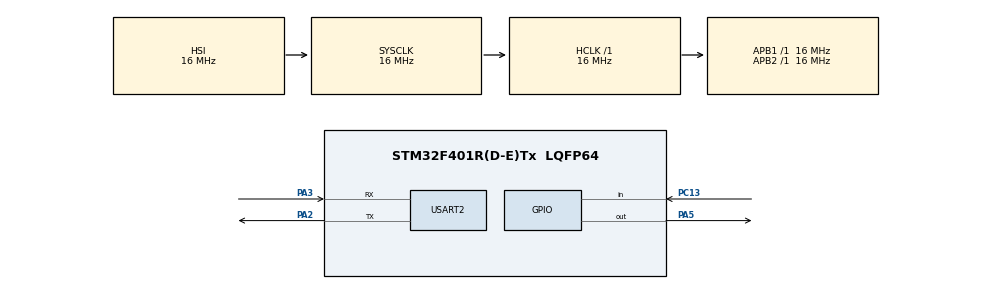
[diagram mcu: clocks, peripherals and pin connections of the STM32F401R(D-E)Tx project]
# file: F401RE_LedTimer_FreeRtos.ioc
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FREERTOS.Queues01=cmdQueue,20,uint8_t,0,Dynamic,NULL,NULL
FREERTOS.Tasks01=ledControlTask,0,128,ledControlStart,Default,&ledStatus,Dynamic,NULL,NULL
FREERTOS.configUSE_NEWLIB_REENTRANT=1
Mcu.Family=STM32F4
Mcu.Name=STM32F401R(D-E)Tx
Mcu.Package=LQFP64
NVIC.PriorityGroup=NVIC_PRIORITYGROUP_4
PA2.Mode=Asynchronous
PA2.Signal=USART2_TX
PA3.Mode=Asynchronous
PA3.Signal=USART2_RX
PA5.Signal=GPIO_Output
PC13-ANTI_TAMP.Signal=GPIO_Input
ProjectManager.HeapSize=0x200
ProjectManager.StackSize=0x400
ProjectManager.TargetToolchain=STM32CubeIDE
RCC.AHBFreq_Value=16000000
RCC.APB1Freq_Value=16000000
RCC.APB2Freq_Value=16000000
RCC.CortexFreq_Value=16000000
RCC.HSE_VALUE=25000000
RCC.HSI_VALUE=16000000
RCC.LSE_VALUE=32768
RCC.SYSCLKFreq_VALUE=16000000
RCC.VCOOutputFreq_Value=192000000
USART2.OverSampling=UART_OVERSAMPLING_16
USART2.VirtualMode=VM_ASYNC
VP_FREERTOS_VS_CMSIS_V1.Mode=CMSIS_V1
board=custom

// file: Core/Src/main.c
/* USER CODE BEGIN Header */
/**
  ******************************************************************************
  * @file           : main.c
  * @brief          : Main program body
  ******************************************************************************
  * @attention
  *
  * Copyright (c) 2025 STMicroelectronics.
  * All rights reserved.
  *
  * This software is licensed under terms that can be found in the LICENSE file
  * in the root directory of this software component.
  * If no LICENSE file comes with this software, it is provided AS-IS.
  *
  ******************************************************************************
  */
/* USER CODE END Header */
#include "main.h"

/* USER CODE BEGIN Includes */

#include "FreeRTOS.h"
#include "task.h"
#include "timers.h"
#include "queue.h"
#include "semphr.h"
#include "event_groups.h"

#include "string.h"
#include "stdlib.h"
#include "stdio.h"

/* USER CODE END Includes */

/* USER CODE BEGIN PTD */

typedef uint8_t		bool;
typedef uint32_t	blinkInterval;

typedef struct {
	uint8_t		str[25];
	uint8_t 	size;
}	queueItem_t;

typedef struct {
	bool			isOn;
	blinkInterval	blinkInt;

} ledStatus_t;
/* USER CODE END PTD */

/* USER CODE BEGIN PD */

#define QUEUE_SIZE 3

/* USER CODE END PD */

UART_HandleTypeDef huart2;

void SystemClock_Config(void);
static void MX_GPIO_Init(void);
static void MX_USART2_UART_Init(void);

/* USER CODE BEGIN 0 */

/**************** QUEUE HANDLER *****************/
xQueueHandle	rxQueueHandler;

/**************** QUEUE HANDLER *****************/
SemaphoreHandle_t	xMutex;

/**************** TASK HANDLER *****************/
xTaskHandle	 	rxUartData;
xTaskHandle		ledControl;
xTaskHandle		parseData;

/*************** TASK FUNCTIONS ****************/
void			rxUartDataTask(void* argument);
void			ledControlTask(void* argument);
void			parseDataTask(void* argument);

ledStatus_t	ledStatus;

/* USER CODE END 0 */

int main(void)
{
  /* USER CODE BEGIN 1 */
  ledStatus.isOn		= 0;
  ledStatus.blinkInt	= 250;
  /* USER CODE END 1 */

  /* MCU Configuration--------------------------------------------------------*/

  /* Reset of all peripherals, Initializes the Flash interface and the Systick. */
  HAL_Init();

  /* Configure the system clock */
  SystemClock_Config();

  /* Initialize all configured peripherals */
  MX_GPIO_Init();
  MX_USART2_UART_Init();
  /* USER CODE BEGIN 2 */
  /*		Queue create 		*/
  rxQueueHandler = xQueueCreate(QUEUE_SIZE, sizeof(queueItem_t));

  /*		Task create 		*/
  xTaskCreate(rxUartDataTask, "rxUart", 128, NULL, 2, &rxUartData);
  xTaskCreate(ledControlTask, "ledCtr", 128, NULL, 1, &ledControl);
  xTaskCreate(parseDataTask, "parseData", 128, NULL, 1, &parseData);

  /*		Mutex create		*/
  xMutex = xSemaphoreCreateMutex();

//  HAL_UART_Receive_IT(&huart2, &rxData, 1);
  /*		Task scheduler start 		*/
  vTaskStartScheduler();
  /* USER CODE END 2 */

  /* We should never get here as control is now taken by the scheduler */
  /* Infinite loop */
  while (1)
  {
  }
}

void SystemClock_Config(void)
{
  RCC_OscInitTypeDef RCC_OscInitStruct = {0};
  RCC_ClkInitTypeDef RCC_ClkInitStruct = {0};

  /** Configure the main internal regulator output voltage
  */
  __HAL_RCC_PWR_CLK_ENABLE();
  __HAL_PWR_VOLTAGESCALING_CONFIG(PWR_REGULATOR_VOLTAGE_SCALE2);

  /** Initializes the RCC Oscillators according to the specified parameters
  * in the RCC_OscInitTypeDef structure.
  */
  RCC_OscInitStruct.OscillatorType = RCC_OSCILLATORTYPE_HSI;
  RCC_OscInitStruct.HSIState = RCC_HSI_ON;
  RCC_OscInitStruct.HSICalibrationValue = RCC_HSICALIBRATION_DEFAULT;
  RCC_OscInitStruct.PLL.PLLState = RCC_PLL_NONE;
  if (HAL_RCC_OscConfig(&RCC_OscInitStruct) != HAL_OK)
  {
    Error_Handler();
  }

  /** Initializes the CPU, AHB and APB buses clocks
  */
  RCC_ClkInitStruct.ClockType = RCC_CLOCKTYPE_HCLK|RCC_CLOCKTYPE_SYSCLK
                              |RCC_CLOCKTYPE_PCLK1|RCC_CLOCKTYPE_PCLK2;
  RCC_ClkInitStruct.SYSCLKSource = RCC_SYSCLKSOURCE_HSI;
  RCC_ClkInitStruct.AHBCLKDivider = RCC_SYSCLK_DIV1;
  RCC_ClkInitStruct.APB1CLKDivider = RCC_HCLK_DIV1;
  RCC_ClkInitStruct.APB2CLKDivider = RCC_HCLK_DIV1;

  if (HAL_RCC_ClockConfig(&RCC_ClkInitStruct, FLASH_LATENCY_0) != HAL_OK)
  {
    Error_Handler();
  }
}

static void MX_USART2_UART_Init(void)
{

  huart2.Instance = USART2;
  huart2.Init.BaudRate = 115200;
  huart2.Init.WordLength = UART_WORDLENGTH_8B;
  huart2.Init.StopBits = UART_STOPBITS_1;
  huart2.Init.Parity = UART_PARITY_NONE;
  huart2.Init.Mode = UART_MODE_TX_RX;
  huart2.Init.HwFlowCtl = UART_HWCONTROL_NONE;
  huart2.Init.OverSampling = UART_OVERSAMPLING_16;
  if (HAL_UART_Init(&huart2) != HAL_OK)
  {
    Error_Handler();
  }

}

static void MX_GPIO_Init(void)
{
  GPIO_InitTypeDef GPIO_InitStruct = {0};

  /* GPIO Ports Clock Enable */
  __HAL_RCC_GPIOC_CLK_ENABLE();
  __HAL_RCC_GPIOA_CLK_ENABLE();

  /*Configure GPIO pin Output Level */
  HAL_GPIO_WritePin(GPIOA, GPIO_PIN_5, GPIO_PIN_RESET);

  /*Configure GPIO pin : PC13 */
  GPIO_InitStruct.Pin = GPIO_PIN_13;
  GPIO_InitStruct.Mode = GPIO_MODE_INPUT;
  GPIO_InitStruct.Pull = GPIO_NOPULL;
  HAL_GPIO_Init(GPIOC, &GPIO_InitStruct);

  /*Configure GPIO pin : PA5 */
  GPIO_InitStruct.Pin = GPIO_PIN_5;
  GPIO_InitStruct.Mode = GPIO_MODE_OUTPUT_PP;
  GPIO_InitStruct.Pull = GPIO_NOPULL;
  GPIO_InitStruct.Speed = GPIO_SPEED_FREQ_LOW;
  HAL_GPIO_Init(GPIOA, &GPIO_InitStruct);

}

/* USER CODE BEGIN 4 */

void			ledControlTask(void* argument)
{
	TickType_t tick;

	tick = 1000;
	for (;;)
	{
		if (ledStatus.blinkInt > 15 && ledStatus.isOn)
		{
			HAL_GPIO_TogglePin(GPIOA, GPIO_PIN_5);
			tick = ledStatus.blinkInt;
		}
		else
		{
			if (ledStatus.isOn)
				HAL_GPIO_WritePin(GPIOA, GPIO_PIN_5, 1);
			else
				HAL_GPIO_WritePin(GPIOA, GPIO_PIN_5, 0);
		}
		vTaskDelay(tick);
	}
}

void			parseDataTask(void* argument)
{
	queueItem_t qElem;

	qElem.size = 0;
	memset(qElem.str, '\0', 25);

	for (;;)
	{
		if (xSemaphoreTake(xMutex, (TickType_t)0xFFFFFFF) == 1 )
		{
			xQueueReceive(rxQueueHandler, &qElem, 20);
			xSemaphoreGive(xMutex);
		}
		if (qElem.size)
		{
			char*	pBuff;

			pBuff = (char*) qElem.str;
			if (!strcmp(pBuff, "LED ON"))
			{
				ledStatus.isOn = 1;
			}
			else if (!strcmp(pBuff, "LED OFF"))
			{
				ledStatus.isOn = 0;
			}
			else if (!strncmp(pBuff, "LED BLINK ", 10))
			{
				ledStatus.blinkInt = atoi(pBuff + 10);
			}
			else if (!strcmp(pBuff, "STATUS"))
			{
				uint8_t numb[10];
				char*	ledIs;
				char* 	str0 = "\n\r";
				char* 	str1 = "Status :\n\r";
				char* 	str2 = "led is : on\n\r";
				char* 	str3 = "led is : off\n\r";
				char* 	str4 = "blink interval : ";

				memset(numb, '\0', 10);
				ledIs = (ledStatus.isOn) ? str2 : str3;
				itoa((int)ledStatus.blinkInt, (char*)numb, 10);

				HAL_UART_Transmit(&huart2, (uint8_t *)str1, strlen (str1), 20);
				HAL_UART_Transmit(&huart2, (uint8_t *)ledIs, strlen (ledIs), 20);
				HAL_UART_Transmit(&huart2, (uint8_t *)str4, strlen (str4), 20);
				HAL_UART_Transmit(&huart2, (uint8_t *)numb, strlen ((const char*)numb), 20);
				HAL_UART_Transmit(&huart2, (uint8_t *)str0, strlen (str0), 20);
			}
			qElem.size = 0;
			memset(qElem.str, '\0', 25);
		}
		vTaskDelay(3000);
	}
}

void	rxUartDataTask(void* argument)
{
	uint8_t sym;
	uint8_t itter;
	uint8_t buff[20];

	itter	= 0;
	sym 	= '\0';
	memset(buff, '\0', 20);

	for (;;)
	{
		if (xSemaphoreTake(xMutex, (TickType_t)0xFFFFFFF) == 1 )
		{
			while (HAL_UART_Receive(&huart2, &sym, sizeof(uint8_t), 500) == HAL_OK && ((sym != '\n') || (sym != '\0')))
			{
				if (itter < 20 && sym != '\0' && sym != '\r')
					buff[itter++] = sym;
			}
			if (itter > 0)
			{
				queueItem_t qElem;

				qElem.size = itter;
				memset(qElem.str, '\0', 25);
				memcpy(qElem.str, buff, itter);
				if (xQueueSend(rxQueueHandler, &qElem, 20) == pdPASS)
				{
					char* str1 = "------------------\n\r";
					HAL_UART_Transmit(&huart2, (uint8_t*)str1, strlen(str1), 20);
				}
				itter	= 0;
				memset(buff, '\0', 25);
			}
			xSemaphoreGive(xMutex);
		}
		vTaskDelay(50);
	}
}

/* USER CODE END 4 */

void Error_Handler(void)
{
  __disable_irq();
  while (1)
  {
  }
}
